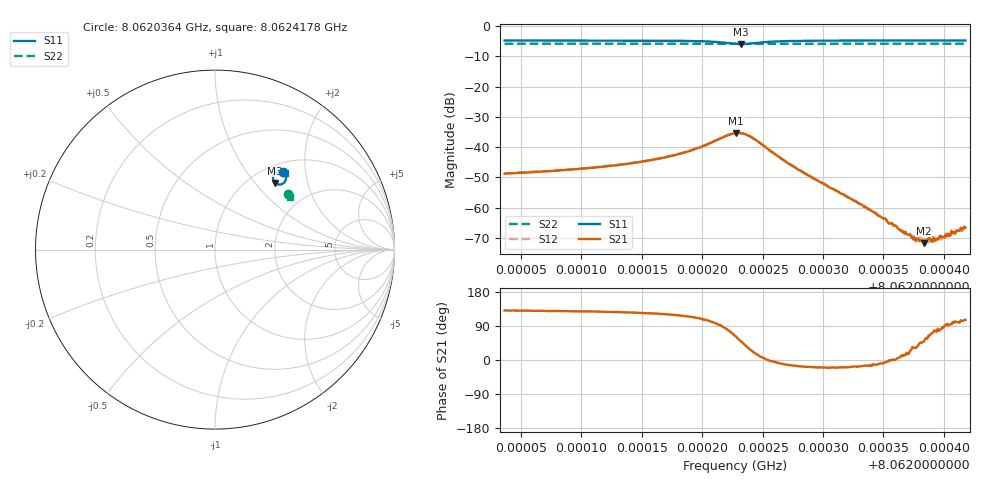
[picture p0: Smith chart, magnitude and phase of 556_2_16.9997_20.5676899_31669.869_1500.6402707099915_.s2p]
#  HZ  S  RI  R  50.00
! Rohde & Schwarz Vector Network Analyzer
! Rohde-Schwarz,ZNB20-2Port,1311601062101988,3.16
! Created: UTC 3/20/2024, 11:17:00 PM
! freq[Hz]  re:S11  im:S11  re:S21  im:S21  re:S12  im:S12  re:S22  im:S22
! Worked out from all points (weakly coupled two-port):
!   401 points, 8.0620364 GHz to 8.0624178 GHz, reference 50 ohm
!   highest |S21| = -35.30 dB at 8.0622281 GHz (marker M1); lowest = -71.6 dB at 8.0623835 GHz (marker M2)
!   lowest |S11| = -6.0 dB at 8.0622319 GHz (marker M3), VSWR 3.00, Z = 64.8 + j64.1 ohm
!   |S11| at or under -10 dB: nowhere
!   |S22| runs from -5.9 to -5.9 dB; largest |S21 - S12| = 0.0011
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8.06203641e9  0.3794 0.4334  -0.00239 0.00276  -0.00221 0.00297  0.404 0.3093
8.06210029e9  0.385 0.4276  -0.00273 0.00344  -0.00254 0.00364  0.4064 0.3059
8.06213843e9  0.3893 0.4221  -0.00309 0.00431  -0.00283 0.00451  0.4077 0.3039
8.06216418e9  0.3928 0.4159  -0.00341 0.00549  -0.00315 0.00576  0.4088 0.3023
8.06218992e9  0.3962 0.4037  -0.00355 0.00796  -0.00308 0.00823  0.4095 0.3006
8.06221281e9  0.389 0.3776  -0.000941 0.0133  -0.000178 0.0133  0.4096 0.2984
8.06222711e9  0.3528 0.3634  0.00736 0.0152  0.00833 0.0149  0.4084 0.2977
8.06222806e9  0.3494 0.364  0.00822 0.0151  0.00922 0.0146  0.4083 0.2976
8.06223188e9  0.336 0.3711  0.0109 0.013  0.0119 0.0125  0.4078 0.2978
8.06224236e9  0.3232 0.4059  0.0129 0.00488  0.0134 0.00414  0.4082 0.2993
8.0622662e9  0.3515 0.4355  0.0062 -0.00114  0.00615 -0.00152  0.4106 0.2989
8.06229099e9  0.3674 0.4357  0.00296 -0.000999  0.00295 -0.00119  0.4122 0.2974
8.06233104e9  0.3784 0.4319  0.0011 -0.000323  0.00108 -0.000395  0.4138 0.2954
8.06235488e9  0.3821 0.4296  0.000544 -3.04e-06  0.000576 -9.26e-05  0.4148 0.294
8.0623749e9  0.3846 0.4281  0.000252 0.000159  0.00031 0.000158  0.4154 0.2929
8.06237967e9  0.3851 0.4276  0.000202 0.000194  0.000234 0.000177  0.4157 0.2927
8.06238348e9  0.3856 0.4274  0.000172 0.000197  0.000203 0.00022  0.4158 0.2925
8.06238634e9  0.3859 0.4272  0.000167 0.00025  0.00017 0.000248  0.4158 0.2923
8.06239397e9  0.3867 0.4266  8.13e-05 0.000295  7.54e-05 0.000263  0.4163 0.2919
8.06239874e9  0.3871 0.4262  2.25e-05 0.000327  6.52e-05 0.000318  0.4164 0.2915
8.06240541e9  0.3877 0.4258  -2.86e-05 0.000356  2.99e-05 0.000344  0.4165 0.2913
8.06241781e9  0.3889 0.425  -0.00013 0.000452  -7.58e-05 0.000447  0.417 0.2906
